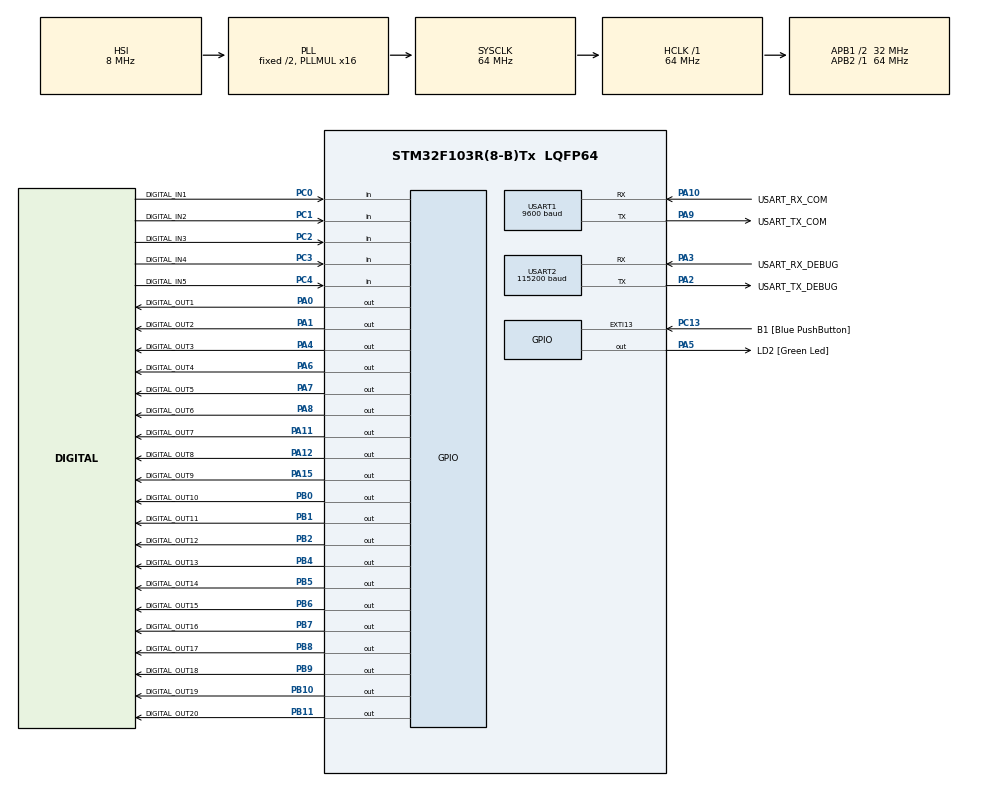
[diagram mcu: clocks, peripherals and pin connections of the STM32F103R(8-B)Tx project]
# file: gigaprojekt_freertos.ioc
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Dma.Request0=USART1_RX
Dma.Request1=USART1_TX
Dma.Request2=USART2_RX
Dma.Request3=USART2_TX
Dma.USART1_RX.0.Direction=DMA_PERIPH_TO_MEMORY
Dma.USART1_RX.0.Instance=DMA1_Channel5
Dma.USART1_RX.0.MemDataAlignment=DMA_MDATAALIGN_BYTE
Dma.USART1_RX.0.MemInc=DMA_MINC_ENABLE
Dma.USART1_RX.0.Mode=DMA_CIRCULAR
Dma.USART1_RX.0.PeriphDataAlignment=DMA_PDATAALIGN_BYTE
Dma.USART1_RX.0.PeriphInc=DMA_PINC_DISABLE
Dma.USART1_RX.0.Priority=DMA_PRIORITY_LOW
Dma.USART1_TX.1.Direction=DMA_MEMORY_TO_PERIPH
Dma.USART1_TX.1.Instance=DMA1_Channel4
Dma.USART1_TX.1.MemDataAlignment=DMA_MDATAALIGN_BYTE
Dma.USART1_TX.1.MemInc=DMA_MINC_ENABLE
Dma.USART1_TX.1.Mode=DMA_NORMAL
Dma.USART1_TX.1.PeriphDataAlignment=DMA_PDATAALIGN_BYTE
Dma.USART1_TX.1.PeriphInc=DMA_PINC_DISABLE
Dma.USART1_TX.1.Priority=DMA_PRIORITY_LOW
Dma.USART2_RX.2.Direction=DMA_PERIPH_TO_MEMORY
Dma.USART2_RX.2.Instance=DMA1_Channel6
Dma.USART2_RX.2.MemDataAlignment=DMA_MDATAALIGN_BYTE
Dma.USART2_RX.2.MemInc=DMA_MINC_ENABLE
Dma.USART2_RX.2.Mode=DMA_CIRCULAR
Dma.USART2_RX.2.PeriphDataAlignment=DMA_PDATAALIGN_BYTE
Dma.USART2_RX.2.PeriphInc=DMA_PINC_DISABLE
Dma.USART2_RX.2.Priority=DMA_PRIORITY_MEDIUM
Dma.USART2_TX.3.Direction=DMA_MEMORY_TO_PERIPH
Dma.USART2_TX.3.Instance=DMA1_Channel7
Dma.USART2_TX.3.MemDataAlignment=DMA_MDATAALIGN_BYTE
Dma.USART2_TX.3.MemInc=DMA_MINC_ENABLE
Dma.USART2_TX.3.Mode=DMA_NORMAL
Dma.USART2_TX.3.PeriphDataAlignment=DMA_PDATAALIGN_BYTE
Dma.USART2_TX.3.PeriphInc=DMA_PINC_DISABLE
Dma.USART2_TX.3.Priority=DMA_PRIORITY_MEDIUM
FREERTOS.INCLUDE_vTaskDelayUntil=1
FREERTOS.INCLUDE_xTaskGetHandle=1
FREERTOS.Queues01=ComRxISRQueue,16,uint32_t,NULL,Dynamic,NULL,NULL;AutomatComandQueue,2,uint8_t,NULL,Dynamic,NULL,NULL;ComTxQueue,32,uint32_t,NULL,Dynamic,NULL,NULL
FREERTOS.Tasks01=vCoreTask,2,128,StartCoreTask,Default,NULL,Dynamic,NULL,NULL;vAutomatTask,0,256,StartAutomatTask,Default,NULL,Dynamic,NULL,NULL;vhComRxTask,3,256,StartComRxTask,Default,NULL,Dynamic,NULL,NULL;vObjectTask,1,256,StartObjectTask,Default,NULL,Dynamic,NULL,NULL;vhComTxTask,-1,128,StartComTxTask,Default,NULL,Dynamic,NULL,NULL
FREERTOS.Timers01=processTimer,processTimerCallback,osTimerOnce,Default,NULL,Dynamic,NULL
FREERTOS.configCHECK_FOR_STACK_OVERFLOW=2
FREERTOS.configGENERATE_RUN_TIME_STATS=1
FREERTOS.configMINIMAL_STACK_SIZE=64
FREERTOS.configTIMER_TASK_PRIORITY=2
FREERTOS.configTOTAL_HEAP_SIZE=12000
FREERTOS.configUSE_IDLE_HOOK=1
FREERTOS.configUSE_MALLOC_FAILED_HOOK=1
FREERTOS.configUSE_TICK_HOOK=1
FREERTOS.configUSE_TIMERS=1
Mcu.Family=STM32F1
Mcu.Name=STM32F103R(8-B)Tx
Mcu.Package=LQFP64
NVIC.DMA1_Channel4_IRQn=true\:5\:0\:false\:false\:true\:true\:false
NVIC.DMA1_Channel5_IRQn=true\:5\:0\:false\:false\:true\:true\:false
NVIC.DMA1_Channel6_IRQn=true\:5\:0\:false\:false\:true\:true\:false
NVIC.DMA1_Channel7_IRQn=true\:5\:0\:false\:false\:true\:true\:false
NVIC.PriorityGroup=NVIC_PRIORITYGROUP_4
NVIC.TIM1_UP_IRQn=true\:0\:0\:false\:false\:true\:false\:false
NVIC.TimeBase=TIM1_UP_IRQn
NVIC.TimeBaseIP=TIM1
NVIC.USART1_IRQn=true\:5\:0\:false\:false\:true\:true\:true
NVIC.USART2_IRQn=true\:5\:0\:false\:false\:true\:true\:true
PA0-WKUP.GPIO_Label=DIGITAL_OUT1
PA0-WKUP.Signal=GPIO_Output
PA1.GPIO_Label=DIGITAL_OUT2
PA1.Signal=GPIO_Output
PA10.GPIO_Label=USART_RX_COM
PA10.Mode=Asynchronous
PA10.Signal=USART1_RX
PA11.GPIO_Label=DIGITAL_OUT7
PA11.Signal=GPIO_Output
PA12.GPIO_Label=DIGITAL_OUT8
PA12.Signal=GPIO_Output
PA13.GPIO_Label=TMS
PA13.Mode=Serial_Wire
PA13.Signal=SYS_JTMS-SWDIO
PA14.GPIO_Label=TCK
PA14.Mode=Serial_Wire
PA14.Signal=SYS_JTCK-SWCLK
PA15.GPIO_Label=DIGITAL_OUT9
PA15.Signal=GPIO_Output
PA2.GPIO_Label=USART_TX_DEBUG
PA2.GPIO_Mode=GPIO_MODE_AF_PP
PA2.GPIO_PuPd=GPIO_NOPULL
PA2.GPIO_Speed=GPIO_SPEED_FREQ_HIGH
PA2.Mode=Asynchronous
PA2.Signal=USART2_TX
PA3.GPIO_Label=USART_RX_DEBUG
PA3.GPIO_Mode=GPIO_MODE_AF_PP
PA3.GPIO_PuPd=GPIO_NOPULL
PA3.GPIO_Speed=GPIO_SPEED_FREQ_LOW
PA3.Mode=Asynchronous
PA3.Signal=USART2_RX
PA4.GPIO_Label=DIGITAL_OUT3
PA4.Signal=GPIO_Output
PA5.GPIO_Label=LD2 [Green Led]
PA5.GPIO_ModeDefaultOutputPP=GPIO_MODE_OUTPUT_PP
PA5.GPIO_PuPd=GPIO_NOPULL
PA5.GPIO_Speed=GPIO_SPEED_FREQ_LOW
PA5.Signal=GPIO_Output
PA6.GPIO_Label=DIGITAL_OUT4
PA6.Signal=GPIO_Output
PA7.GPIO_Label=DIGITAL_OUT5
PA7.Signal=GPIO_Output
PA8.GPIO_Label=DIGITAL_OUT6
PA8.Signal=GPIO_Output
PA9.GPIO_Label=USART_TX_COM
PA9.Mode=Asynchronous
PA9.Signal=USART1_TX
PB0.GPIO_Label=DIGITAL_OUT10
PB0.Signal=GPIO_Output
PB1.GPIO_Label=DIGITAL_OUT11
PB1.Signal=GPIO_Output
PB10.GPIO_Label=DIGITAL_OUT19
PB10.Signal=GPIO_Output
PB11.GPIO_Label=DIGITAL_OUT20
PB11.Signal=GPIO_Output
PB2.GPIO_Label=DIGITAL_OUT12
PB2.Signal=GPIO_Output
PB3.GPIO_Label=SWO
PB3.Signal=SYS_JTDO-TRACESWO
PB4.GPIO_Label=DIGITAL_OUT13
PB4.Signal=GPIO_Output
PB5.GPIO_Label=DIGITAL_OUT14
PB5.Signal=GPIO_Output
PB6.GPIO_Label=DIGITAL_OUT15
PB6.Signal=GPIO_Output
PB7.GPIO_Label=DIGITAL_OUT16
PB7.Signal=GPIO_Output
PB8.GPIO_Label=DIGITAL_OUT17
PB8.Signal=GPIO_Output
PB9.GPIO_Label=DIGITAL_OUT18
PB9.Signal=GPIO_Output
PC0.GPIO_Label=DIGITAL_IN1
PC0.Signal=GPIO_Input
PC1.GPIO_Label=DIGITAL_IN2
PC1.Signal=GPIO_Input
PC13-TAMPER-RTC.GPIO_Label=B1 [Blue PushButton]
PC13-TAMPER-RTC.GPIO_ModeDefaultEXTI=GPIO_MODE_IT_FALLING
PC13-TAMPER-RTC.GPIO_PuPd=GPIO_NOPULL
PC13-TAMPER-RTC.Signal=GPXTI13
PC14-OSC32_IN.Signal=RCC_OSC32_IN
PC15-OSC32_OUT.Signal=RCC_OSC32_OUT
PC2.GPIO_Label=DIGITAL_IN3
PC2.Signal=GPIO_Input
PC3.GPIO_Label=DIGITAL_IN4
PC3.Signal=GPIO_Input
PC4.GPIO_Label=DIGITAL_IN5
PC4.Signal=GPIO_Input
PD0-OSC_IN.Signal=RCC_OSC_IN
PD1-OSC_OUT.Signal=RCC_OSC_OUT
ProjectManager.HeapSize=0x200
ProjectManager.StackSize=0x400
ProjectManager.TargetToolchain=SW4STM32
RCC.AHBFreq_Value=64000000
RCC.APB1CLKDivider=RCC_HCLK_DIV2
RCC.APB1Freq_Value=32000000
RCC.APB1TimFreq_Value=64000000
RCC.APB2Freq_Value=64000000
RCC.APB2TimFreq_Value=64000000
RCC.HCLKFreq_Value=64000000
RCC.PLLMUL=RCC_PLL_MUL16
RCC.SYSCLKFreq_VALUE=64000000
RCC.SYSCLKSource=RCC_SYSCLKSOURCE_PLLCLK
RCC.USBFreq_Value=64000000
USART1.BaudRate=9600
USART1.Parity=PARITY_NONE
USART1.VirtualMode=VM_ASYNC
USART1.WordLength=WORDLENGTH_8B
USART2.BaudRate=115200
USART2.VirtualMode=VM_ASYNC
VP_FREERTOS_VS_ENABLE.Mode=Enabled
VP_SYS_VS_tim1.Mode=TIM1
board=NUCLEO-F103RB

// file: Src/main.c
/**
  ******************************************************************************
  * File Name          : main.c
  * Description        : Main program body
  ******************************************************************************
  * This notice applies to any and all portions of this file
  * that are not between comment pairs USER CODE BEGIN and
  * USER CODE END. Other portions of this file, whether
  * inserted by the user or by software development tools
  * are owned by their respective copyright owners.
  *
  * Copyright (c) 2018 STMicroelectronics International N.V.
  * All rights reserved.
  *
  * Redistribution and use in source and binary forms, with or without
  * modification, are permitted, provided that the following conditions are met:
  *
  * 1. Redistribution of source code must retain the above copyright notice,
  *    this list of conditions and the following disclaimer.
  * 2. Redistributions in binary form must reproduce the above copyright notice,
  *    this list of conditions and the following disclaimer in the documentation
  *    and/or other materials provided with the distribution.
  * 3. Neither the name of STMicroelectronics nor the names of other
  *    contributors to this software may be used to endorse or promote products
  *    derived from this software without specific written permission.
  * 4. This software, including modifications and/or derivative works of this
  *    software, must execute solely and exclusively on microcontroller or
  *    microprocessor devices manufactured by or for STMicroelectronics.
  * 5. Redistribution and use of this software other than as permitted under
  *    this license is void and will automatically terminate your rights under
  *    this license.
  *
  * THIS SOFTWARE IS PROVIDED BY STMICROELECTRONICS AND CONTRIBUTORS "AS IS"
  * AND ANY EXPRESS, IMPLIED OR STATUTORY WARRANTIES, INCLUDING, BUT NOT
  * LIMITED TO, THE IMPLIED WARRANTIES OF MERCHANTABILITY, FITNESS FOR A
  * PARTICULAR PURPOSE AND NON-INFRINGEMENT OF THIRD PARTY INTELLECTUAL PROPERTY
  * RIGHTS ARE DISCLAIMED TO THE FULLEST EXTENT PERMITTED BY LAW. IN NO EVENT
  * SHALL STMICROELECTRONICS OR CONTRIBUTORS BE LIABLE FOR ANY DIRECT, INDIRECT,
  * INCIDENTAL, SPECIAL, EXEMPLARY, OR CONSEQUENTIAL DAMAGES (INCLUDING, BUT NOT
  * LIMITED TO, PROCUREMENT OF SUBSTITUTE GOODS OR SERVICES; LOSS OF USE, DATA,
  * OR PROFITS; OR BUSINESS INTERRUPTION) HOWEVER CAUSED AND ON ANY THEORY OF
  * LIABILITY, WHETHER IN CONTRACT, STRICT LIABILITY, OR TORT (INCLUDING
  * NEGLIGENCE OR OTHERWISE) ARISING IN ANY WAY OUT OF THE USE OF THIS SOFTWARE,
  * EVEN IF ADVISED OF THE POSSIBILITY OF SUCH DAMAGE.
  *
  ******************************************************************************
  */

#include "main.h"
#include "stm32f1xx_hal.h"
#include "cmsis_os.h"
#include "dma.h"
#include "usart.h"
#include "gpio.h"

#include <stdbool.h>
#include <stdint.h>
#include "myDataTypes.h"

/* USER CODE BEGIN PV */
message_recive_frame_type RecivedBuffor1;
message_recive_frame_type RecivedBuffor2;
extern osMailQId ComRxISRMailQueueHandle;
/* USER CODE END PV */

void SystemClock_Config(void);
void MX_FREERTOS_Init(void);

int main(void)
{ /* MCU Configuration----------------------------------------------------------*/

  /* Reset of all peripherals, Initializes the Flash interface and the Systick. */
  HAL_Init();

  /* Configure the system clock */
  SystemClock_Config();

  /* Initialize all configured peripherals */
  MX_GPIO_Init();
  MX_DMA_Init();
  MX_USART1_UART_Init();
  MX_USART2_UART_Init();

  HAL_UART_Receive_DMA(&huart1, &RecivedBuffor1, UART_FRAME_LENGTH);
  HAL_UART_Receive_DMA(&huart2, &RecivedBuffor2, UART_FRAME_LENGTH);

  /* Call init function for freertos objects (in freertos.c) */
  MX_FREERTOS_Init();

  /* Start scheduler */
  osKernelStart();

  /* We should never get here as control is now taken by the scheduler */

  /* Infinite loop */
  while (1)
  {

  }
}

/** System Clock Configuration
*/
void SystemClock_Config(void)
{

  RCC_OscInitTypeDef RCC_OscInitStruct;
  RCC_ClkInitTypeDef RCC_ClkInitStruct;

    /**Initializes the CPU, AHB and APB busses clocks
    */
  RCC_OscInitStruct.OscillatorType = RCC_OSCILLATORTYPE_HSI;
  RCC_OscInitStruct.HSIState = RCC_HSI_ON;
  RCC_OscInitStruct.HSICalibrationValue = 16;
  RCC_OscInitStruct.PLL.PLLState = RCC_PLL_ON;
  RCC_OscInitStruct.PLL.PLLSource = RCC_PLLSOURCE_HSI_DIV2;
  RCC_OscInitStruct.PLL.PLLMUL = RCC_PLL_MUL16;
  if (HAL_RCC_OscConfig(&RCC_OscInitStruct) != HAL_OK)
  {
    _Error_Handler(__FILE__, __LINE__);
  }

    /**Initializes the CPU, AHB and APB busses clocks
    */
  RCC_ClkInitStruct.ClockType = RCC_CLOCKTYPE_HCLK|RCC_CLOCKTYPE_SYSCLK
                              |RCC_CLOCKTYPE_PCLK1|RCC_CLOCKTYPE_PCLK2;
  RCC_ClkInitStruct.SYSCLKSource = RCC_SYSCLKSOURCE_PLLCLK;
  RCC_ClkInitStruct.AHBCLKDivider = RCC_SYSCLK_DIV1;
  RCC_ClkInitStruct.APB1CLKDivider = RCC_HCLK_DIV2;
  RCC_ClkInitStruct.APB2CLKDivider = RCC_HCLK_DIV1;

  if (HAL_RCC_ClockConfig(&RCC_ClkInitStruct, FLASH_LATENCY_2) != HAL_OK)
  {
    _Error_Handler(__FILE__, __LINE__);
  }

    /**Configure the Systick interrupt time
    */
  HAL_SYSTICK_Config(HAL_RCC_GetHCLKFreq()/1000);

    /**Configure the Systick
    */
  HAL_SYSTICK_CLKSourceConfig(SYSTICK_CLKSOURCE_HCLK);

  /* SysTick_IRQn interrupt configuration */
  HAL_NVIC_SetPriority(SysTick_IRQn, 15, 0);
}

/* USER CODE BEGIN 4 */
void HAL_UART_RxCpltCallback(UART_HandleTypeDef *huart) {

	message_recive_frame_type *mptr = osMailAlloc(ComRxISRMailQueueHandle, 0);
	if(mptr==NULL){

		if(huart->Instance==huart1.Instance) HAL_UART_Receive_DMA(&huart1, &RecivedBuffor1, UART_FRAME_LENGTH); // Ponowne w³¹czenie nas³uchiwania
		else if(huart->Instance==huart2.Instance) HAL_UART_Receive_DMA(&huart2, &RecivedBuffor2, UART_FRAME_LENGTH);
	}
	else {
		if(huart->Instance==huart1.Instance) {
			*mptr = RecivedBuffor1;
			osMailPut(ComRxISRMailQueueHandle, mptr);

			HAL_UART_Receive_DMA(&huart1, &RecivedBuffor1, UART_FRAME_LENGTH); // Ponowne w³¹czenie nas³uchiwania
			HAL_UART_Transmit_DMA(&huart2, mptr, 16);
		}
		else if(huart->Instance==huart2.Instance) {
			*mptr = RecivedBuffor2;
			osMailPut(ComRxISRMailQueueHandle, mptr);

			HAL_UART_Receive_DMA(&huart2, &RecivedBuffor2, UART_FRAME_LENGTH);
		}
	}

}
/* USER CODE END 4 */

void HAL_TIM_PeriodElapsedCallback(TIM_HandleTypeDef *htim)
{
  if (htim->Instance == TIM1) {
    HAL_IncTick();
  }
}

void _Error_Handler(char * file, int line)
{
  /* USER CODE BEGIN Error_Handler_Debug */
	char *ptr=NULL;
	//variable used to access the subsequent array elements.
	int offset = 0;
	//variable that counts the number of elements in your array
	int count = 0;

	//While loop that tests whether the end of the array has been reached
	while (*(file + offset) != '\0') {
	        //increment the count variable
	        ++count;
	        //advance to the next element of the array
	        ++offset;
	}
	ptr= pvPortMalloc((25+count) * sizeof *ptr);
	count = snprintf(ptr, (25+count), "Error in: %s, line: %d\n\r", file, line);
	HAL_UART_Transmit_DMA(&huart2,ptr,count);

  /* User can add his own implementation to report the HAL error return state */
  while(1)
  {
  }
  /* USER CODE END Error_Handler_Debug */
}

/************************ (C) COPYRIGHT STMicroelectronics *****END OF FILE****/

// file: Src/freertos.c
/**
  ******************************************************************************
  * File Name          : freertos.c
  * Description        : Code for freertos applications
  ******************************************************************************
  * This notice applies to any and all portions of this file
  * that are not between comment pairs USER CODE BEGIN and
  * USER CODE END. Other portions of this file, whether
  * inserted by the user or by software development tools
  * are owned by their respective copyright owners.
  *
  * Copyright (c) 2018 STMicroelectronics International N.V.
  * All rights reserved.
  *
  * Redistribution and use in source and binary forms, with or without
  * modification, are permitted, provided that the following conditions are met:
  *
  * 1. Redistribution of source code must retain the above copyright notice,
  *    this list of conditions and the following disclaimer.
  * 2. Redistributions in binary form must reproduce the above copyright notice,
  *    this list of conditions and the following disclaimer in the documentation
  *    and/or other materials provided with the distribution.
  * 3. Neither the name of STMicroelectronics nor the names of other
  *    contributors to this software may be used to endorse or promote products
  *    derived from this software without specific written permission.
  * 4. This software, including modifications and/or derivative works of this
  *    software, must execute solely and exclusively on microcontroller or
  *    microprocessor devices manufactured by or for STMicroelectronics.
  * 5. Redistribution and use of this software other than as permitted under
  *    this license is void and will automatically terminate your rights under
  *    this license.
  *
  * THIS SOFTWARE IS PROVIDED BY STMICROELECTRONICS AND CONTRIBUTORS "AS IS"
  * AND ANY EXPRESS, IMPLIED OR STATUTORY WARRANTIES, INCLUDING, BUT NOT
  * LIMITED TO, THE IMPLIED WARRANTIES OF MERCHANTABILITY, FITNESS FOR A
  * PARTICULAR PURPOSE AND NON-INFRINGEMENT OF THIRD PARTY INTELLECTUAL PROPERTY
  * RIGHTS ARE DISCLAIMED TO THE FULLEST EXTENT PERMITTED BY LAW. IN NO EVENT
  * SHALL STMICROELECTRONICS OR CONTRIBUTORS BE LIABLE FOR ANY DIRECT, INDIRECT,
  * INCIDENTAL, SPECIAL, EXEMPLARY, OR CONSEQUENTIAL DAMAGES (INCLUDING, BUT NOT
  * LIMITED TO, PROCUREMENT OF SUBSTITUTE GOODS OR SERVICES; LOSS OF USE, DATA,
  * OR PROFITS; OR BUSINESS INTERRUPTION) HOWEVER CAUSED AND ON ANY THEORY OF
  * LIABILITY, WHETHER IN CONTRACT, STRICT LIABILITY, OR TORT (INCLUDING
  * NEGLIGENCE OR OTHERWISE) ARISING IN ANY WAY OUT OF THE USE OF THIS SOFTWARE,
  * EVEN IF ADVISED OF THE POSSIBILITY OF SUCH DAMAGE.
  *
  ******************************************************************************
  */

#include "FreeRTOS.h"	//
#include "task.h"
#include "cmsis_os.h"
#include "stm32f1xx_hal.h"
#include <stdbool.h>
#include "myDataTypes.h"
#include "mySensorDefines.h"

osThreadId vAutomatTaskHandle;
osThreadId vhComRxTaskHandle;
osThreadId vhComTxTaskHandle;
osTimerId processTimerHandle;
extern UART_HandleTypeDef huart1;
extern UART_HandleTypeDef huart2;
osMailQId ComRxISRMailQueueHandle;
osMailQId AutomatNewOrderMailQueueHandle;
osMailQId ComTxMailQueueHandle;

void StartAutomatTask(void const * argument);
void StartComRxTask(void const * argument);
void StartComTxTask(void const * argument);
void processTimerCallback(void const * argument);

void MX_FREERTOS_Init(void); /* (MISRA C 2004 rule 8.1) */

/* Hook prototypes */
void configureTimerForRunTimeStats(void);
unsigned long getRunTimeCounterValue(void);
void vApplicationIdleHook(void);
void vApplicationTickHook(void);
void vApplicationStackOverflowHook(xTaskHandle xTask, signed char *pcTaskName);
void vApplicationMallocFailedHook(void);

/* USER CODE BEGIN 1 */
/* Functions needed when configGENERATE_RUN_TIME_STATS is on */
__weak void configureTimerForRunTimeStats(void)
{

}

__weak unsigned long getRunTimeCounterValue(void)
{
return 0;
}
/* USER CODE END 1 */

/* USER CODE BEGIN 2 */
__weak void vApplicationIdleHook( void )
{
   /* vApplicationIdleHook() will only be called if configUSE_IDLE_HOOK is set
   to 1 in FreeRTOSConfig.h. It will be called on each iteration of the idle
   task. It is essential that code added to this hook function never attempts
   to block in any way (for example, call xQueueReceive() with a block time
   specified, or call vTaskDelay()). If the application makes use of the
   vTaskDelete() API function (as this demo application does) then it is also
   important that vApplicationIdleHook() is permitted to return to its calling
   function, because it is the responsibility of the idle task to clean up
   memory allocated by the kernel to any task that has since been deleted. */
	  HAL_GPIO_WritePin(LD2_GPIO_Port, LD2_Pin, false);

}
/* USER CODE END 2 */

/* USER CODE BEGIN 3 */
__weak void vApplicationTickHook( void )
{
   /* This function will be called by each tick interrupt if
   configUSE_TICK_HOOK is set to 1 in FreeRTOSConfig.h. User code can be
   added here, but the tick hook is called from an interrupt context, so
   code must not attempt to block, and only the interrupt safe FreeRTOS API
   functions can be used (those that end in FromISR()). */
}
/* USER CODE END 3 */

/* USER CODE BEGIN 4 */
__weak void vApplicationStackOverflowHook(xTaskHandle xTask, signed char *pcTaskName)
{
   /* Run time stack overflow checking is performed if
   configCHECK_FOR_STACK_OVERFLOW is defined to 1 or 2. This hook function is
   called if a stack overflow is detected. */
_Error_Handler(pcTaskName, 0);

}
/* USER CODE END 4 */

/* USER CODE BEGIN 5 */
__weak void vApplicationMallocFailedHook(void)
{
   /* vApplicationMallocFailedHook() will only be called if
   configUSE_MALLOC_FAILED_HOOK is set to 1 in FreeRTOSConfig.h. It is a hook
   function that will get called if a call to pvPortMalloc() fails.
   pvPortMalloc() is called internally by the kernel whenever a task, queue,
   timer or semaphore is created. It is also called by various parts of the
   demo application. If heap_1.c or heap_2.c are used, then the size of the
   heap available to pvPortMalloc() is defined by configTOTAL_HEAP_SIZE in
   FreeRTOSConfig.h, and the xPortGetFreeHeapSize() API function can be used
   to query the size of free heap space that remains (although it does not
   provide information on how the remaining heap might be fragmented). */
	_Error_Handler("Malloc Failed", 0);

}
/* USER CODE END 5 */

/* Init FreeRTOS */

void MX_FREERTOS_Init(void) {
  /* USER CODE BEGIN Init */

  /* Create the timer(s) */
  osTimerDef(processTimer, processTimerCallback);
  processTimerHandle = osTimerCreate(osTimer(processTimer), osTimerPeriodic, NULL);

 /* Create the thread(s) */

  osThreadDef(vAutomatTask, StartAutomatTask, osPriorityHigh, 0, 1024);
  vAutomatTaskHandle = osThreadCreate(osThread(vAutomatTask), NULL);

  osThreadDef(vhComRxTask, StartComRxTask, osPriorityNormal, 0, 300);
  vhComRxTaskHandle = osThreadCreate(osThread(vhComRxTask), NULL);

  osThreadDef(vhComTxTask, StartComTxTask, osPriorityRealtime, 0, 200);
  vhComTxTaskHandle = osThreadCreate(osThread(vhComTxTask), NULL);

  /* USER CODE BEGIN RTOS_QUEUES */

  osMailQDef(ComRxISRMailQueue, 8, message_recive_frame_type);
  ComRxISRMailQueueHandle = osMailCreate(osMailQ(ComRxISRMailQueue), NULL);

  osMailQDef(AutomatNewOrderMailQueue, 1, new_order_type);
  AutomatNewOrderMailQueueHandle = osMailCreate(osMailQ(AutomatNewOrderMailQueue), NULL);

  osMailQDef(ComTxMailQueue, 18, message_send_frame_type);
  ComTxMailQueueHandle = osMailCreate(osMailQ(ComTxMailQueue), NULL);
}

/* StartAutomatTask function */
void StartAutomatTask(void const * argument)
{
  /* USER CODE BEGIN StartAutomatTask */
	// Czujniki i ich inicjalizacja
	sensor Czujnik_Poziomu_A1={0, 0, CZ_POZIOMU_A1, DIGITAL_IN1_GPIO_Port, DIGITAL_OUT1_Pin},
			Czujnik_Poziomu_B1={0,0,CZ_POZIOMU_B1, DIGITAL_IN2_GPIO_Port, DIGITAL_IN2_Pin},
			Czujnik_Poziomu_C1={0,0,CZ_POZIOMU_C1, DIGITAL_IN3_GPIO_Port, DIGITAL_IN3_Pin},
			Czujnik_Poziomu_A2={0,0,CZ_POZIOMU_A2, DIGITAL_IN4_GPIO_Port, DIGITAL_IN4_Pin},
			Czujnik_Poziomu_B2={0,0,CZ_POZIOMU_B2, DIGITAL_IN5_GPIO_Port, DIGITAL_IN5_Pin},
			Czujnik_Poziomu_C2={0,0,CZ_POZIOMU_C2, DIGITAL_IN6_GPIO_Port, DIGITAL_IN6_Pin},
			Czujnik_Wypchniecia_A={0,0,CZ_WYPCHNIECIA_A, DIGITAL_IN7_GPIO_Port, DIGITAL_IN7_Pin},
			Czujnik_Wypchniecia_B={0,0,CZ_WYPCHNIECIA_B, DIGITAL_IN16_GPIO_Port, DIGITAL_IN16_Pin},
			Czujnik_Wypchniecia_C={0,0,CZ_WYPCHNIECIA_C, DIGITAL_IN17_GPIO_Port, DIGITAL_IN17_Pin},
			Czujnik_Pozycji_A={0,0,CZ_POZYCJI_A, DIGITAL_IN10_GPIO_Port, DIGITAL_IN10_Pin},
			Czujnik_Pozycji_B={0,0,CZ_POZYCJI_B, DIGITAL_IN11_GPIO_Port, DIGITAL_IN11_Pin},
			Czujnik_Pozycji_C={0,0,CZ_POZYCJI_C, DIGITAL_IN18_GPIO_Port, DIGITAL_IN18_Pin},
			Czujnik_Pozycji_Koncowej={0,0,CZ_POZYCJI_KONCOWEJ, DIGITAL_IN13_GPIO_Port, DIGITAL_IN13_Pin},
			Przycisk_Bezpieczenstwa={0,0,PRZYCISK_BEZPIECZENSTWA, DIGITAL_IN14_GPIO_Port, DIGITAL_IN14_Pin},
			Przycisk_Gotowosci={0,0,PRZYCISK_GOTOWOSCI, DIGITAL_IN15_GPIO_Port, DIGITAL_IN15_Pin};

	sensor *sensorPtrTab[NUMBER_OF_SENSORS]={&Czujnik_Poziomu_A1, &Czujnik_Poziomu_B1, &Czujnik_Poziomu_C1,
											&Czujnik_Poziomu_A2, &Czujnik_Poziomu_B2, &Czujnik_Poziomu_C2,
											&Czujnik_Wypchniecia_A, &Czujnik_Wypchniecia_B, &Czujnik_Wypchniecia_C,
											&Czujnik_Pozycji_A, &Czujnik_Pozycji_B, &Czujnik_Pozycji_C,
											&Czujnik_Pozycji_Koncowej, &Przycisk_Bezpieczenstwa, &Przycisk_Gotowosci};

	//wyjœcia i ich inicjalizacja
	output Tlok_A={0, DIGITAL_OUT1_GPIO_Port, DIGITAL_OUT1_Pin},
			Tlok_B={0, DIGITAL_OUT2_GPIO_Port, DIGITAL_OUT2_Pin},
			Tlok_C={0, DIGITAL_OUT3_GPIO_Port, DIGITAL_OUT3_Pin},
			Silnik_Tasma={0, DIGITAL_OUT4_GPIO_Port, DIGITAL_OUT4_Pin},
			Kontrolka_A={0, DIGITAL_OUT5_GPIO_Port, DIGITAL_OUT5_Pin},
			Kontrolka_B={0, DIGITAL_OUT6_GPIO_Port, DIGITAL_OUT6_Pin},
			Kontrolka_C={0, DIGITAL_OUT7_GPIO_Port, DIGITAL_OUT7_Pin};

	output *outputPtrTab[NUMBER_OF_OUTPUTS]={&Tlok_A, &Tlok_B, &Tlok_C, &Silnik_Tasma, &Kontrolka_A, &Kontrolka_B, &Kontrolka_C};

	//reszta zmiennych automatu
	//Liczniki i Timery
	char	Timer_Opoznienia_A = 0, Timer_Opoznienia_B = 0, Timer_Opoznienia_C = 0,
			Stan_Podajnik_A = 1, Stan_Podajnik_B = 1, Stan_Podajnik_C = 1,
			Stan_Tasmociag = 1;
	//zmienne iloœci cukierków
	uint16_t A = 0, B = 0, C = 0;

	//zmienne wejœciowe
	osEvent sig, msg;
	new_order_type *order = NULL;
	message_send_frame_type *tmpMailPtr;
	volatile bool working = 0;

  /* Infinite loop */
  for(;;)
  {
	  sig = osSignalWait(0x00,osWaitForever);
	  HAL_GPIO_WritePin(LD2_GPIO_Port,LD2_Pin, true);
	  switch(sig.value.signals){
	  case PAUSE_SIGNAL:
		  working = 0;
		  break;
	  case RESET_SIGNAL:
		  working = 0;
		  osMailFree(AutomatNewOrderMailQueueHandle, order);
		  Tlok_A.value = 0;
		  Tlok_B.value = 0;
		  Tlok_C.value = 0;
		  Timer_Opoznienia_A = 0;
		  Timer_Opoznienia_B = 0;
		  Timer_Opoznienia_C = 0;
		  Stan_Podajnik_A = 1;
		  Stan_Podajnik_B = 1;
		  Stan_Podajnik_C = 1;
		  Stan_Tasmociag = 1;
		  osTimerStop(processTimerHandle);
		  break;
	  case MAIL_SIGNAL:
		  msg = osMailGet(AutomatNewOrderMailQueueHandle, 10);
		  order = msg.value.p;
		  A = order->quantity_A;
		  B = order->quantity_B;
		  C = order->quantity_C;
		  working = 1;
		  /* no break */
	  case START_SIGNAL:
	  		  working = 1;
	  		  //inicjalizacja timera procesu
	  		  osTimerStart(processTimerHandle, 100);
	  		  break;
	  case TICK_SIGNAL:
		  //odczytanie wejsc
		  for(int i=0; i<NUMBER_OF_SENSORS;i++){
			  sensorPtrTab[i]->value = HAL_GPIO_ReadPin(sensorPtrTab[i]->port, sensorPtrTab[i]->pin);
			  if(sensorPtrTab[i]->value != sensorPtrTab[i]->prev_value){//wys³anie maila do procesy vhComTx z now¹ wartoœci¹ czujnika
				  tmpMailPtr = osMailAlloc(ComTxMailQueueHandle, 10);
				  tmpMailPtr->type=SENSOR_VALUE;
				  tmpMailPtr->sensor_change.id=sensorPtrTab[i]->id;
				  tmpMailPtr->sensor_change.value=sensorPtrTab[i]->value;
				  osMailPut(ComTxMailQueueHandle, tmpMailPtr);
				  osSignalSet(vhComTxTaskHandle, MAIL_SIGNAL);
				  sensorPtrTab[i]->prev_value=sensorPtrTab[i]->value;
			  }
		  }

		  if(working && !Przycisk_Bezpieczenstwa.value){

			  //obliczenie wyjsc na podstawie stanu automatu
			  if(Czujnik_Pozycji_A.value && Stan_Tasmociag == 3){
    			switch (Stan_Podajnik_A){

    			case 1:	Tlok_A.value = 0;
    					if(A!=0) Stan_Podajnik_A = 2;
    					break;

    			case 2:	Tlok_A.value = 0;
    					if(Czujnik_Poziomu_A1.value == 1) Stan_Podajnik_A = 3;
    					if(Czujnik_Poziomu_A1.value == 0) Stan_Podajnik_A = 6;
    					break;

    			case 3:	Tlok_A.value = 1;
    					if(Czujnik_Wypchniecia_A.value == 1) Stan_Podajnik_A = 4;
    					break;

    			case 4:	Tlok_A.value = 0;
    					if(Czujnik_Wypchniecia_A.value == 0) {Stan_Podajnik_A = 5; A--;}
    					break;

    			case 5:	Tlok_A.value = 0;
    					if(A!=0) Stan_Podajnik_A = 2;
    					if(A==0) Stan_Podajnik_A = 1;
    					break;

    			case 6:	Tlok_A.value = 0;
    					if(Czujnik_Poziomu_A1.value == 1) Stan_Podajnik_A = 1;
    					break;

    			}
    		}

    		if(Czujnik_Pozycji_B.value && Stan_Tasmociag == 6){
    			switch (Stan_Podajnik_B){

    			case 1:	Tlok_B.value = 0;
    				if(B!=0) Stan_Podajnik_B = 2;
    				break;

    			case 2:	Tlok_B.value = 0;
    				if(Czujnik_Poziomu_B1.value == 1) Stan_Podajnik_B = 3;
    				if(Czujnik_Poziomu_B1.value == 0) Stan_Podajnik_B = 6;
    				break;

    			case 3:	Tlok_B.value = 1;
    				if(Czujnik_Wypchniecia_B.value == 1) Stan_Podajnik_B = 4;
    				break;

    			case 4:	Tlok_B.value = 0;
    				if(Czujnik_Wypchniecia_B.value == 0) {Stan_Podajnik_B = 5; B--;}
    				break;

    			case 5:	Tlok_B.value = 0;
    				if(B!=0) Stan_Podajnik_B = 2;
    				if(B==0) Stan_Podajnik_B = 1;
    				break;

    			case 6:	Tlok_B.value = 0;
    				if(Czujnik_Poziomu_B1.value == 1) Stan_Podajnik_B = 1;
    				break;
    			}
    		}

    		if(Czujnik_Pozycji_C.value && Stan_Tasmociag == 9){
    			switch (Stan_Podajnik_C){

    			case 1:	Tlok_C.value = 0;
    				if(C!=0) Stan_Podajnik_C = 2;
    				break;

    			case 2:	Tlok_C.value = 0;
    				if(Czujnik_Poziomu_C1.value == 1) Stan_Podajnik_C = 3;
    				if(Czujnik_Poziomu_C1.value == 0) Stan_Podajnik_C = 6;
    				break;

    			case 3:	Tlok_C.value = 1;
    				if(Czujnik_Wypchniecia_C.value == 1) Stan_Podajnik_C = 4;
    				break;

    			case 4:	Tlok_C.value = 0;
    				if(Czujnik_Wypchniecia_C.value == 0) {Stan_Podajnik_C = 5; C--;}
    				break;

    			case 5:	Tlok_C.value = 0;
    				if(C!=0) Stan_Podajnik_C = 2;
    				if(C==0) Stan_Podajnik_C = 1;
    				break;

    			case 6:	Tlok_C.value = 0;
    				if(Czujnik_Poziomu_C1.value == 1) Stan_Podajnik_C = 1;
    				break;

    			}
    		}

    		switch (Stan_Tasmociag){

    		case 1: 	Silnik_Tasma.value = 0;
    				if(Przycisk_Gotowosci.value == 1) Stan_Tasmociag = 2;
    				break;

    		case 2:	Silnik_Tasma.value = 1;
    				if(Czujnik_Pozycji_A.value == 1) Stan_Tasmociag = 3;
    				break;

    		case 3: 	Silnik_Tasma.value = 0;
    				if(A == 0) {Stan_Tasmociag = 4; Timer_Opoznienia_A = TIMER_A;}
    				break;

    		case 4:	Silnik_Tasma.value = 0;								// U¿yty timer, nie wiadomo jak postawiæ warunek by
    				if(Timer_Opoznienia_A == 0) Stan_Tasmociag = 5;	// to dzia³a³o jak nale¿y
    				break;

    		case 5: 	Silnik_Tasma.value = 1;
    				if(Czujnik_Pozycji_B.value == 1) Stan_Tasmociag = 6;
    				break;

    		case 6:	Silnik_Tasma.value = 0;
    				if(B == 0) {Stan_Tasmociag = 7; Timer_Opoznienia_B = TIMER_B;}
    				break;

    		case 7: 	Silnik_Tasma.value = 0;								// U¿yty timer, nie wiadomo jak postawiæ warunek by
    				if(Timer_Opoznienia_B == 0) Stan_Tasmociag = 8;	// to dzia³a³o jak nale¿y
    				break;

    		case 8:	Silnik_Tasma.value = 1;
    				if(Czujnik_Pozycji_C.value == 1) Stan_Tasmociag = 9;
    				break;

    		case 9: Silnik_Tasma.value = 0;
    				if(C == 0) {Stan_Tasmociag = 10; Timer_Opoznienia_C = TIMER_C;}
    				break;

    		case 10: 	Silnik_Tasma.value = 0;
    				if(Timer_Opoznienia_C == 0) Stan_Tasmociag = 11;
    				break;

    		case 11:	Silnik_Tasma.value = 1;
    				if(Czujnik_Pozycji_Koncowej.value == 1) Stan_Tasmociag = 12;
    				break;

    		case 12: Silnik_Tasma.value = 0;
    				if(Czujnik_Pozycji_Koncowej.value == 0) {
    					Stan_Tasmociag = 1;
    					// zamówienie kompletne, mo¿na wys³ac potwierdzenie
    				    tmpMailPtr = osMailAlloc(ComTxMailQueueHandle, 10);
    				    tmpMailPtr->type = ORDER_COMPLETE;
    				    tmpMailPtr->order_complete.quantity_A = order->quantity_A;
    				   	tmpMailPtr->order_complete.quantity_B = order->quantity_B;
    				   	tmpMailPtr->order_complete.quantity_C = order->quantity_C;
    				    osMailPut(ComTxMailQueueHandle, tmpMailPtr);
    				    osMailFree(AutomatNewOrderMailQueueHandle, order);
    				    osSignalSet(vhComTxTaskHandle, MAIL_SIGNAL);
    				}
    				break;
    		}
    		if(Timer_Opoznienia_A)Timer_Opoznienia_A--;
    		if(Timer_Opoznienia_B)Timer_Opoznienia_B--;
    		if(Timer_Opoznienia_C)Timer_Opoznienia_C--;
		  }
		  else Silnik_Tasma.value = 0;

		  //zapalanie kontrolek sygnalizuj¹cych niski poziom cukierków w pojemniku
		  Kontrolka_A.value = !Czujnik_Poziomu_A2.value;
		  Kontrolka_B.value = !Czujnik_Poziomu_B2.value;
		  Kontrolka_C.value = !Czujnik_Poziomu_C2.value;

		  //w przypadku braku cukierków wysylany jest komunikat oraz zatrzymywany jest proces
		  if((Stan_Podajnik_A == 6 || Stan_Podajnik_B == 6 || Stan_Podajnik_C == 6) && working){

			  working = false; //zamro¿enie procesu

			  //tworzenie komunikatu z informacj¹ jakie pojemniki sa puste
			  tmpMailPtr = osMailAlloc(ComTxMailQueueHandle, 10);
			  tmpMailPtr->type = EMPTY_CONTAINER;
			  tmpMailPtr->empty_container.A = (Stan_Podajnik_A == 6);
			  tmpMailPtr->empty_container.B = (Stan_Podajnik_B == 6);
			  tmpMailPtr->empty_container.C = (Stan_Podajnik_C == 6);

			  //wys³anie maila do procesu komunikacyjnego, oraz ustawienie sygna³y ¿e mail zota³ wys³any
			  osMailPut(ComTxMailQueueHandle, tmpMailPtr);
			  osSignalSet(vhComTxTaskHandle, MAIL_SIGNAL);
		  }

		  //ustawienie wyjsc zgodnie ze zmiennymi automatu
		  for(int i=0; i<NUMBER_OF_OUTPUTS;i++) HAL_GPIO_WritePin(outputPtrTab[i]->port, outputPtrTab[i]->pin, outputPtrTab[i]->value);
		  break;
    	}

  }
  /* USER CODE END StartAutomatTask */
}

/* StartComRxTask function */
void StartComRxTask(void const * argument)
{
  /* USER CODE BEGIN StartComRxTask */
	osEvent msg;
	message_recive_frame_type *message;
	new_order_type *newOrderTmp; //tymczasowe zmienne ilosci cukierkow

  /* Infinite loop */
  for(;;)
  {
	  msg = osMailGet(ComRxISRMailQueueHandle, osWaitForever); //oczekiwanie na wiadomosc
	  HAL_GPIO_WritePin(LD2_GPIO_Port, LD2_Pin, true);
	  if(msg.status==osEventMail){//przysz³a wiadmosc
		  message = msg.value.p;
		  if(message->m_start == '#'){
			  switch(message->m_type){
			  case 'Q': //odebrane zamówienie z iloœcia cukierkow
				  if((message->order.hundred_digit_A>='0' && message->order.hundred_digit_A<='9') &&
						  (message->order.hundred_digit_B>='0' && message->order.hundred_digit_B<='9') &&
						  (message->order.hundred_digit_C>='0' && message->order.hundred_digit_C<='9') &&
						  (message->order.ten_digit_A>='0' && message->order.ten_digit_A<='9') &&
						  (message->order.ten_digit_B>='0' && message->order.ten_digit_B<='9') &&
						  (message->order.ten_digit_C>='0' && message->order.ten_digit_C<='9') &&
						  (message->order.unit_digit_A>='0' && message->order.unit_digit_A<='9') &&
						  (message->order.unit_digit_B>='0' && message->order.unit_digit_B<='9') &&
						  (message->order.unit_digit_C>='0' && message->order.unit_digit_C<='9') &&
						  message->order.end_of_frame == '@') { //sprawdzenie poprwnoœci ramki

					  newOrderTmp = osMailAlloc(AutomatNewOrderMailQueueHandle, 0);
					  if(newOrderTmp != NULL){
						  newOrderTmp->quantity_A = (message->order.hundred_digit_A-'0')*100 + (message->order.ten_digit_A-'0')*10 + (message->order.unit_digit_A-'0');
						  newOrderTmp->quantity_B = (message->order.hundred_digit_B-'0')*100 + (message->order.ten_digit_B-'0')*10 + (message->order.unit_digit_B-'0');
						  newOrderTmp->quantity_C = (message->order.hundred_digit_C-'0')*100 + (message->order.ten_digit_C-'0')*10 + (message->order.unit_digit_C-'0');
						  osMailPut(AutomatNewOrderMailQueueHandle, newOrderTmp);
						  osSignalSet(vAutomatTaskHandle, MAIL_SIGNAL);
						  osSignalSet(vhComTxTaskHandle, ECHO_SIGNAL);
					  }
					  else {
						  //jakieœ zamówienie jest jeszcze wykonywane, jezeli nie to zalecane zresetowanie automatu
						  osSignalSet(vhComTxTaskHandle, BAD_FRAME_SIGNAL);
					  }
				  }
				  else {
					  osSignalSet(vhComTxTaskHandle, BAD_FRAME_SIGNAL);
				  }
				  break;

			  case 'D': //odebrana komenda wznowienia/wstrzymania/resetu
				  if(message->command.end_of_frame == '@')
					  switch(message->command.command){
					  case 'w':
						  osSignalSet(vAutomatTaskHandle, PAUSE_SIGNAL);
						  osSignalSet(vhComTxTaskHandle, ECHO_SIGNAL);
						  break;
					  case 's':
						  osSignalSet(vAutomatTaskHandle, START_SIGNAL);
						  osSignalSet(vhComTxTaskHandle, ECHO_SIGNAL);
						  break;
					  case 'r':
						  osSignalSet(vAutomatTaskHandle, RESET_SIGNAL);
						  osSignalSet(vhComTxTaskHandle, ECHO_SIGNAL);
						  break;
					  default:
						  osSignalSet(vhComTxTaskHandle, BAD_FRAME_SIGNAL);
						  break;
					  }
				  else {
					  osSignalSet(vhComTxTaskHandle, BAD_FRAME_SIGNAL);
				  }
				  break;

			  case '@': //odebrane echo
				  osSignalSet(vhComTxTaskHandle, ECHO_SIGNAL);
				  break;

			  default: //gdy nie zgadza siê drugi znak ramki
				  osSignalSet(vhComTxTaskHandle, BAD_FRAME_SIGNAL);
				  break;
			  }

		  }
		  else {// gdy nie zgadza sie znak pocz¹tku ramki
			  osSignalSet(vhComTxTaskHandle, BAD_FRAME_SIGNAL);
		  }
		  osMailFree(ComRxISRMailQueueHandle, message);
	  }

  }
  /* USER CODE END StartComRxTask */
}

/* StartComTxTask function */
void StartComTxTask(void const * argument)
{
  /* USER CODE BEGIN StartComTxTask */
	osEvent msg, sig;
	char buffor[17];
	char signal;
	message_send_frame_type *message;
  /* Infinite loop */
  for(;;)
  {
	  sig = osSignalWait(0x0, osWaitForever);
	  HAL_GPIO_WritePin(LD2_GPIO_Port, LD2_Pin, true);
	  for(int i=0; i<17;i++) buffor[i]='\0';
	  if(sig.status == osEventSignal){
		  switch(sig.value.signals){
		  case BAD_FRAME_SIGNAL:
			  signal = '!';
			  snprintf(&buffor, 17, "#%c", signal);
			  //osSignalClear(vhComTxTaskHandle,BAD_FRAME_SIGNAL);
			  break;
		  case ECHO_SIGNAL:
			  signal = '@';
			  snprintf(&buffor, 17, "#%c", signal);
			  //osSignalClear(vhComTxTaskHandle,ECHO_SIGNAL);
			  break;
		  case MAIL_SIGNAL:
			  msg = osMailGet(ComTxMailQueueHandle, osWaitForever);
			  message = msg.value.p;
			  switch(message->type){
			  case ORDER_COMPLETE:
			 	  snprintf(&buffor, 17, "#Q/%d/%d/%d/@",message->order_complete.quantity_A, message->order_complete.quantity_B, message->order_complete.quantity_C);
			 	  break;
			  case EMPTY_CONTAINER:
				  snprintf(&buffor, 17, "#E/%d/%d/%d/@",message->empty_container.A, message->empty_container.B, message->empty_container.C);
				  break;
			  case SENSOR_VALUE:
			 	  snprintf(&buffor, 17, "#S/%d/%d/@",message->sensor_change.id, message->sensor_change.value);
			 	  break;
			  default:
				  break;
			  }
			  osMailFree(ComTxMailQueueHandle, message);
			  break;
		  default:
			  signal = '*';
			  snprintf(&buffor, 17, "#%c", signal);
			  break;
		  }
		  HAL_UART_Transmit_DMA(&huart1, &buffor, 16);
		  //HAL_UART_Transmit_DMA(&huart2, &buffor, 16);

	  }

  }
  /* USER CODE END StartComTxTask */
}

/* processTimerCallback function */
void processTimerCallback(void const * argument)
{
  /* USER CODE BEGIN processTimerCallback */
  osSignalSet(vAutomatTaskHandle, TICK_SIGNAL);
  /* USER CODE END processTimerCallback */
}

/************************ (C) COPYRIGHT STMicroelectronics *****END OF FILE****/
